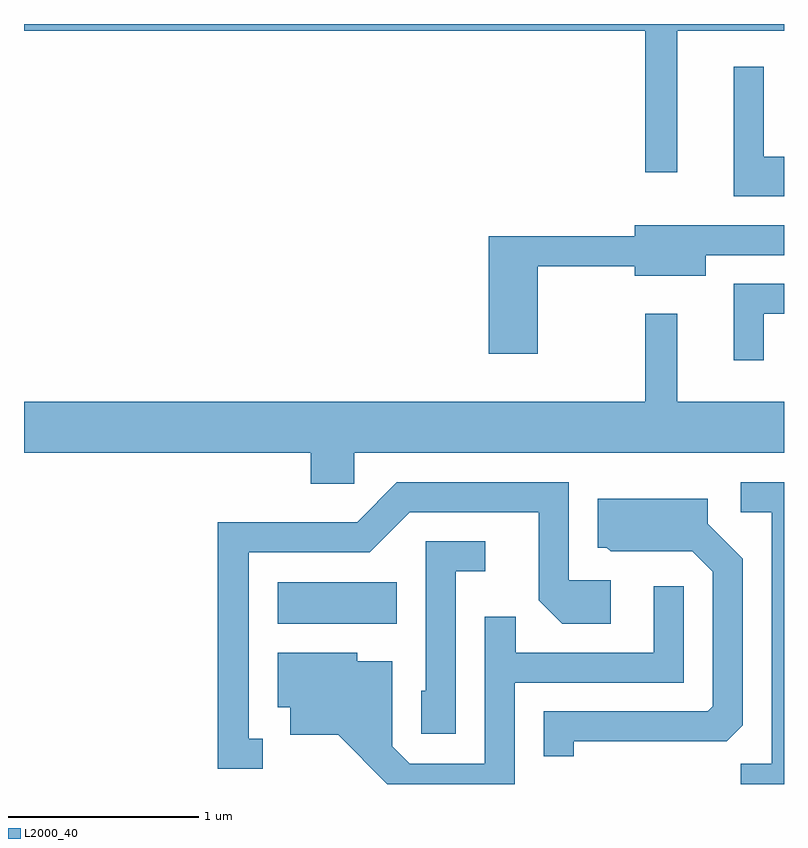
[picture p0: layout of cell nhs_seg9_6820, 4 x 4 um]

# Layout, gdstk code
import gdstk
lib = gdstk.Library(unit=1e-6, precision=1e-09)
def R(c, l, rs):  # rectangles x0, y0, x1, y1
    for r in rs: c.add(gdstk.rectangle(r[:2], r[2:], *l))
def P(c, l, *ps):  # polygons
    for p in ps: c.add(gdstk.Polygon(p, *l))
L2000_40 = (2000, 40)

nhs_seg9_6820 = lib.new_cell('nhs_seg9_6820')
R(nhs_seg9_6820, L2000_40, [(386.946,2075.276,387.574,2075.494)])
P(nhs_seg9_6820, L2000_40, [(389.049,2078.396),(389.611,2078.396),(389.611,2078.432),(385.611,2078.432),(385.611,2078.396),(388.881,2078.396),(388.881,2077.653),(389.049,2077.653)],
  [(389.611,2077.734),(389.504,2077.734),(389.504,2078.208),(389.346,2078.208),(389.346,2077.526),(389.611,2077.526)],
  [(388.314,2077.156),(388.826,2077.156),(388.826,2077.106),(389.199,2077.106),(389.199,2077.216),(389.611,2077.216),(389.611,2077.374),(388.826,2077.374),(388.826,2077.314),(388.056,2077.314),(388.056,2076.696),(388.314,2076.696)],
  [(389.504,2076.906),(389.611,2076.906),(389.611,2077.064),(389.346,2077.064),(389.346,2076.663),(389.504,2076.663)],
  [(387.349,2076.176),(389.611,2076.176),(389.611,2076.444),(389.049,2076.444),(389.049,2076.908),(388.881,2076.908),(388.881,2076.444),(385.611,2076.444),(385.611,2076.176),(387.121,2076.176),(387.121,2076.011),(387.349,2076.011)],
  [(386.868,2074.669),(386.794,2074.669),(386.794,2075.651),(387.432,2075.651),(387.642,2075.861),(388.321,2075.861),(388.321,2075.399),(388.444,2075.276),(388.699,2075.276),(388.699,2075.504),(388.479,2075.504),(388.479,2076.019),(387.574,2076.019),(387.364,2075.809),(386.631,2075.809),(386.631,2074.511),(386.868,2074.511)],
  [(389.611,2076.019),(389.383,2076.019),(389.383,2075.861),(389.546,2075.861),(389.546,2074.539),(389.383,2074.539),(389.383,2074.432),(389.611,2074.432)],
  [(388.504,2074.656),(389.309,2074.656),(389.394,2074.742),(389.394,2075.617),(389.209,2075.802),(389.209,2075.934),(388.631,2075.934),(388.631,2075.676),(388.679,2075.676),(388.699,2075.656),(389.129,2075.656),(389.236,2075.548),(389.236,2074.842),(389.209,2074.814),(388.346,2074.814),(388.346,2074.577),(388.504,2074.577)],
  [(387.884,2075.551),(388.038,2075.551),(388.038,2075.709),(387.726,2075.709),(387.726,2074.924),(387.701,2074.924),(387.701,2074.696),(387.884,2074.696)],
  [(388.194,2074.966),(389.084,2074.966),(389.084,2075.472),(388.926,2075.472),(388.926,2075.124),(388.199,2075.124),(388.199,2075.313),(388.036,2075.313),(388.036,2074.539),(387.642,2074.539),(387.549,2074.632),(387.549,2075.079),(387.364,2075.079),(387.364,2075.124),(386.946,2075.124),(386.946,2074.836),(387.011,2074.836),(387.011,2074.691),(387.264,2074.691),(387.523,2074.432),(388.194,2074.432)])

lib.write_gds('nhs_seg9_6820.gds')
